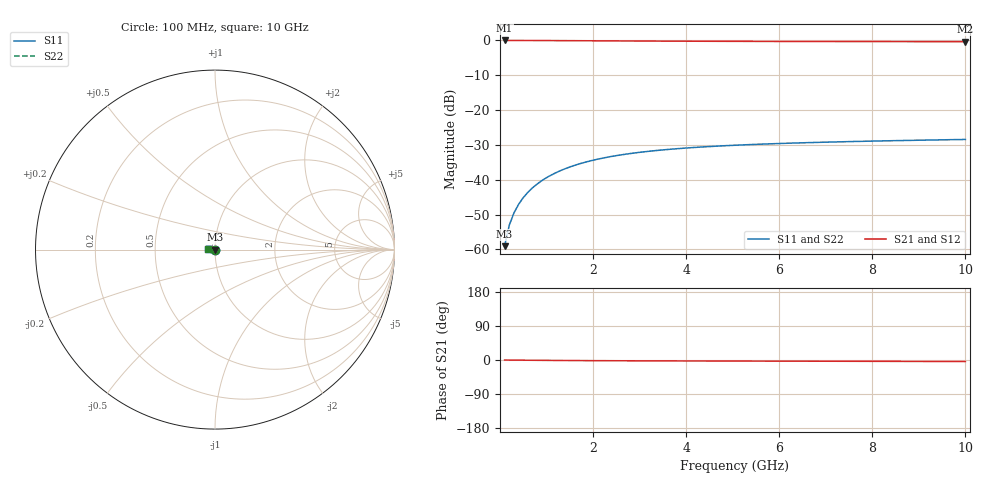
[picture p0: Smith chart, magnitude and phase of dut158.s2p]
! Touchstone file exported from HFSS 2024.1.0
!  File:  C:/UserFiles/LocalFiles/RDL_TSV_Batchsim/temp_TSV1_158_1779382085.aedt
!  Generated:  12:53:54 AM May 22, 2026
!  Design:  TSV1
!  Project:  temp_TSV1_158_1779382085
!  Setup:  Setup1
!  Solution:  Sweep
! Variables:
!  dtsv = 12.94um
!  hbump = 3um
!  htsv = 58.62um
!  lrdl = 252.1521522um
!  p = 40
!  p1 = 57.15um
!  t = 500um
!  trdl = 3um
!  wrdl = 24.89489489um
# GHz S MA R 50.000000
! Terminal data exported
! Port[1] = TSV22_T1
! Port[2] = TSV22_T2
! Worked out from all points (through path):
!   100 points, 100 MHz to 10 GHz, reference 50 ohm
!   highest |S21| = 0.00 dB at 100 MHz (marker M1); lowest = -0.3 dB at 10 GHz (marker M2)
!   lowest |S11| = -59.1 dB at 100 MHz (marker M3), VSWR 1.00, Z = 50 - j0.111 ohm
!   |S11| at or under -10 dB: start of sweep to end of sweep
!   |S22| runs from -59.1 to -28.4 dB; largest |S21 - S12| = 1.5e-14
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0.1  0.001114 -88.2  0.9999 -0.1  0.9999 -0.1  0.001114 -88.2
! Gamma 0 0 0 0
! Port Impedance 50 0 50 0
0.2  0.002225 -91.9  0.9998 -0.2  0.9998 -0.2  0.002225 -91.9
0.3  0.003334 -94.4  0.9995 -0.3  0.9995 -0.3  0.003334 -94.4
0.4  0.004438 -96.7  0.9993 -0.4  0.9993 -0.4  0.004438 -96.7
0.5  0.00553 -98.8  0.9989 -0.5  0.9989 -0.5  0.00553 -98.8
0.6  0.006608 -100.9  0.9985 -0.6  0.9985 -0.6  0.006608 -100.9
0.7  0.007668 -102.9  0.998 -0.7  0.998 -0.7  0.007668 -102.9
0.8  0.008707 -104.9  0.9975 -0.8  0.9975 -0.8  0.008707 -104.9
0.9  0.009723 -106.8  0.9969 -0.9  0.9969 -0.9  0.009723 -106.8
1.1  0.01168 -110.5  0.9956 -1.1  0.9956 -1.1  0.01168 -110.5
1.4  0.01441 -115.9  0.9935 -1.3  0.9935 -1.3  0.01441 -115.9
1.6  0.01608 -119.2  0.9919 -1.5  0.9919 -1.5  0.01608 -119.2
1.8  0.01764 -122.4  0.9903 -1.6  0.9903 -1.6  0.01764 -122.4
2.1  0.01976 -126.8  0.9879 -1.8  0.9879 -1.8  0.01976 -126.8
2.5  0.02221 -132.3  0.9849 -2.0  0.9849 -2.0  0.02221 -132.3
2.9  0.02429 -137.2  0.982 -2.1  0.982 -2.1  0.02429 -137.2
3.4  0.02646 -142.6  0.9788 -2.3  0.9788 -2.3  0.02646 -142.6
4.2  0.02916 -150.0  0.9745 -2.6  0.9745 -2.6  0.02916 -150.0
5.1  0.03142 -157.0  0.9707 -2.8  0.9707 -2.8  0.03142 -157.0
6.7  0.03424 -166.8  0.966 -3.2  0.966 -3.2  0.03424 -166.8
8.4  0.03634 -175.1  0.9629 -3.6  0.9629 -3.6  0.03634 -175.1
10  0.03791 178.3  0.9608 -4.0  0.9608 -4.0  0.03792 178.3
